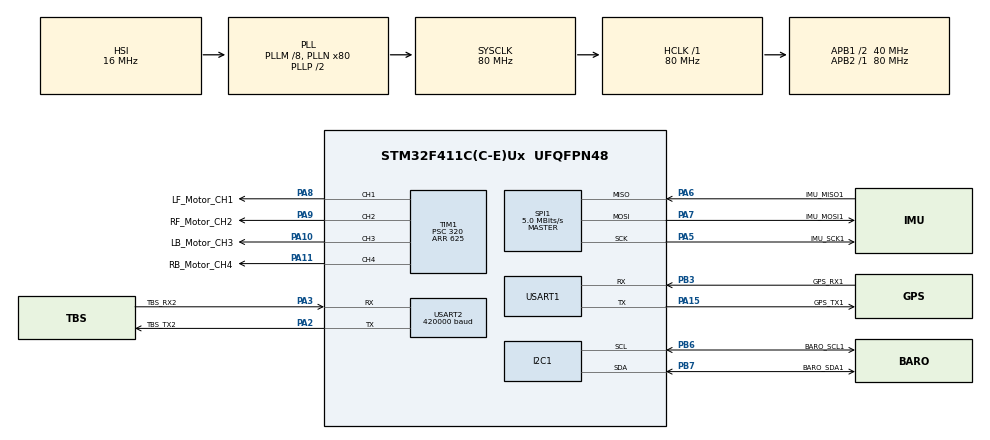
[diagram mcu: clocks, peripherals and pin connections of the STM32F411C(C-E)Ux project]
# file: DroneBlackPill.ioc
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FREERTOS.BinarySemaphores01=IMUSem,Dynamic,NULL
FREERTOS.Tasks01=defaultTask,24,128,StartDefaultTask,Default,NULL,Dynamic,NULL,NULL;IMUTask,8,128,StartIMUTask,Default,NULL,Dynamic,NULL,NULL
FREERTOS.configUSE_NEWLIB_REENTRANT=1
I2C1.I2C_Mode=I2C_Fast
Mcu.Family=STM32F4
Mcu.Name=STM32F411C(C-E)Ux
Mcu.Package=UFQFPN48
NVIC.PriorityGroup=NVIC_PRIORITYGROUP_4
NVIC.TIM1_TRG_COM_TIM11_IRQn=true\:5\:0\:false\:false\:true\:false\:false\:true
NVIC.TimeBase=TIM1_TRG_COM_TIM11_IRQn
NVIC.TimeBaseIP=TIM11
PA10.GPIO_Label=LB_Motor_CH3
PA10.Signal=S_TIM1_CH3
PA11.GPIO_Label=RB_Motor_CH4
PA11.Signal=S_TIM1_CH4
PA13.Mode=Serial_Wire
PA13.Signal=SYS_JTMS-SWDIO
PA14.Mode=Serial_Wire
PA14.Signal=SYS_JTCK-SWCLK
PA15.GPIO_Label=GPS_TX1
PA15.Mode=Asynchronous
PA15.Signal=USART1_TX
PA2.GPIO_Label=TBS_TX2
PA2.Mode=Asynchronous
PA2.Signal=USART2_TX
PA3.GPIO_Label=TBS_RX2
PA3.Mode=Asynchronous
PA3.Signal=USART2_RX
PA5.GPIO_Label=IMU_SCK1
PA5.Mode=Full_Duplex_Master
PA5.Signal=SPI1_SCK
PA6.GPIO_Label=IMU_MISO1
PA6.Mode=Full_Duplex_Master
PA6.Signal=SPI1_MISO
PA7.GPIO_Label=IMU_MOSI1
PA7.Mode=Full_Duplex_Master
PA7.Signal=SPI1_MOSI
PA8.GPIO_Label=LF_Motor_CH1
PA8.Signal=S_TIM1_CH1
PA9.GPIO_Label=RF_Motor_CH2
PA9.Signal=S_TIM1_CH2
PB3.GPIO_Label=GPS_RX1
PB3.Mode=Asynchronous
PB3.Signal=USART1_RX
PB6.GPIO_Label=BARO_SCL1
PB6.Mode=I2C
PB6.Signal=I2C1_SCL
PB7.GPIO_Label=BARO_SDA1
PB7.Mode=I2C
PB7.Signal=I2C1_SDA
ProjectManager.HeapSize=0x200
ProjectManager.StackSize=0x400
ProjectManager.TargetToolchain=STM32CubeIDE
RCC.48MHZClocksFreq_Value=40000000
RCC.AHBFreq_Value=80000000
RCC.APB1CLKDivider=RCC_HCLK_DIV2
RCC.APB1Freq_Value=40000000
RCC.APB1TimFreq_Value=80000000
RCC.APB2Freq_Value=80000000
RCC.APB2TimFreq_Value=80000000
RCC.CortexFreq_Value=80000000
RCC.HCLKFreq_Value=80000000
RCC.HSE_VALUE=25000000
RCC.HSI_VALUE=16000000
RCC.LSE_VALUE=32768
RCC.PLLM=8
RCC.PLLN=80
RCC.SYSCLKFreq_VALUE=80000000
RCC.SYSCLKSource=RCC_SYSCLKSOURCE_PLLCLK
RCC.VCOOutputFreq_Value=160000000
SH.S_TIM1_CH1.0=TIM1_CH1,PWM Generation1 CH1
SH.S_TIM1_CH2.0=TIM1_CH2,PWM Generation2 CH2
SH.S_TIM1_CH3.0=TIM1_CH3,PWM Generation3 CH3
SH.S_TIM1_CH4.0=TIM1_CH4,PWM Generation4 CH4
SPI1.BaudRatePrescaler=SPI_BAUDRATEPRESCALER_16
SPI1.CalculateBaudRate=5.0 MBits/s
SPI1.Direction=SPI_DIRECTION_2LINES
SPI1.Mode=SPI_MODE_MASTER
SPI1.VirtualType=VM_MASTER
TIM1.AutoReloadPreload=TIM_AUTORELOAD_PRELOAD_ENABLE
TIM1.Channel-PWM\ Generation1\ CH1=TIM_CHANNEL_1
TIM1.Channel-PWM\ Generation2\ CH2=TIM_CHANNEL_2
TIM1.Channel-PWM\ Generation3\ CH3=TIM_CHANNEL_3
TIM1.Channel-PWM\ Generation4\ CH4=TIM_CHANNEL_4
TIM1.Period=625
TIM1.Prescaler=320
TIM1.Pulse-PWM\ Generation1\ CH1=250
TIM1.Pulse-PWM\ Generation2\ CH2=250
TIM1.Pulse-PWM\ Generation3\ CH3=250
TIM1.Pulse-PWM\ Generation4\ CH4=250
USART1.VirtualMode=VM_ASYNC
USART2.BaudRate=420000
USART2.VirtualMode=VM_ASYNC
VP_FREERTOS_VS_CMSIS_V2.Mode=CMSIS_V2
VP_SYS_VS_tim11.Mode=TIM11
board=custom

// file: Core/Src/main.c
/* USER CODE BEGIN Header */
/**
  ******************************************************************************
  * @file           : main.c
  * @brief          : Main program body
  ******************************************************************************
  * @attention
  *
  * Copyright (c) 2022 STMicroelectronics.
  * All rights reserved.
  *
  * This software is licensed under terms that can be found in the LICENSE file
  * in the root directory of this software component.
  * If no LICENSE file comes with this software, it is provided AS-IS.
  *
  ******************************************************************************
  */
/* USER CODE END Header */
#include "main.h"
#include "cmsis_os.h"
#include "i2c.h"
#include "spi.h"
#include "tim.h"
#include "usart.h"
#include "gpio.h"

void SystemClock_Config(void);
void MX_FREERTOS_Init(void);

int main(void)
{

  /* MCU Configuration--------------------------------------------------------*/

  /* Reset of all peripherals, Initializes the Flash interface and the Systick. */
  HAL_Init();

  /* Configure the system clock */
  SystemClock_Config();

  /* Initialize all configured peripherals */
  MX_GPIO_Init();
  MX_TIM1_Init();
  MX_USART1_UART_Init();
  MX_USART2_UART_Init();
  MX_I2C1_Init();
  MX_SPI1_Init();

  /* Init scheduler */
  osKernelInitialize();  /* Call init function for freertos objects (in freertos.c) */
  MX_FREERTOS_Init();
  /* Start scheduler */
  osKernelStart();

  /* We should never get here as control is now taken by the scheduler */
  /* Infinite loop */
  while (1)
  {

  }
}

void SystemClock_Config(void)
{
  RCC_OscInitTypeDef RCC_OscInitStruct = {0};
  RCC_ClkInitTypeDef RCC_ClkInitStruct = {0};

  /** Configure the main internal regulator output voltage
  */
  __HAL_RCC_PWR_CLK_ENABLE();
  __HAL_PWR_VOLTAGESCALING_CONFIG(PWR_REGULATOR_VOLTAGE_SCALE1);
  /** Initializes the RCC Oscillators according to the specified parameters
  * in the RCC_OscInitTypeDef structure.
  */
  RCC_OscInitStruct.OscillatorType = RCC_OSCILLATORTYPE_HSI;
  RCC_OscInitStruct.HSIState = RCC_HSI_ON;
  RCC_OscInitStruct.HSICalibrationValue = RCC_HSICALIBRATION_DEFAULT;
  RCC_OscInitStruct.PLL.PLLState = RCC_PLL_ON;
  RCC_OscInitStruct.PLL.PLLSource = RCC_PLLSOURCE_HSI;
  RCC_OscInitStruct.PLL.PLLM = 8;
  RCC_OscInitStruct.PLL.PLLN = 80;
  RCC_OscInitStruct.PLL.PLLP = RCC_PLLP_DIV2;
  RCC_OscInitStruct.PLL.PLLQ = 4;
  if (HAL_RCC_OscConfig(&RCC_OscInitStruct) != HAL_OK)
  {
    Error_Handler();
  }
  /** Initializes the CPU, AHB and APB buses clocks
  */
  RCC_ClkInitStruct.ClockType = RCC_CLOCKTYPE_HCLK|RCC_CLOCKTYPE_SYSCLK
                              |RCC_CLOCKTYPE_PCLK1|RCC_CLOCKTYPE_PCLK2;
  RCC_ClkInitStruct.SYSCLKSource = RCC_SYSCLKSOURCE_PLLCLK;
  RCC_ClkInitStruct.AHBCLKDivider = RCC_SYSCLK_DIV1;
  RCC_ClkInitStruct.APB1CLKDivider = RCC_HCLK_DIV2;
  RCC_ClkInitStruct.APB2CLKDivider = RCC_HCLK_DIV1;

  if (HAL_RCC_ClockConfig(&RCC_ClkInitStruct, FLASH_LATENCY_2) != HAL_OK)
  {
    Error_Handler();
  }
}

void HAL_TIM_PeriodElapsedCallback(TIM_HandleTypeDef *htim)
{
  if (htim->Instance == TIM11) {
    HAL_IncTick();
  }
}

void Error_Handler(void)
{
  __disable_irq();
  while (1)
  {
  }
}

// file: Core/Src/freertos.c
/* USER CODE BEGIN Header */
/**
  ******************************************************************************
  * File Name          : freertos.c
  * Description        : Code for freertos applications
  ******************************************************************************
  * @attention
  *
  * Copyright (c) 2022 STMicroelectronics.
  * All rights reserved.
  *
  * This software is licensed under terms that can be found in the LICENSE file
  * in the root directory of this software component.
  * If no LICENSE file comes with this software, it is provided AS-IS.
  *
  ******************************************************************************
  */
/* USER CODE END Header */

#include "FreeRTOS.h"
#include "task.h"
#include "main.h"
#include "cmsis_os.h"

/* USER CODE BEGIN Includes */
#include "IMUAgent.h"
#include "AHRS.h"

#include "bme68x.h"

#include "bmm150.h"

#include "bmi088.h"
#include "bmi088a.h"
#include "bmi088g.h"
#include "bmi08x.h"
/* USER CODE END Includes */

/* USER CODE BEGIN Variables */
osStatus_t imuSemStatus;
/* USER CODE END Variables */
/* Definitions for defaultTask */
osThreadId_t defaultTaskHandle;
const osThreadAttr_t defaultTask_attributes = {
  .name = "defaultTask",
  .stack_size = 128 * 4,
  .priority = (osPriority_t) osPriorityNormal,
};
/* Definitions for IMUTask */
osThreadId_t IMUTaskHandle;
const osThreadAttr_t IMUTask_attributes = {
  .name = "IMUTask",
  .stack_size = 128 * 4,
  .priority = (osPriority_t) osPriorityLow,
};
/* Definitions for IMUSem */
osSemaphoreId_t IMUSemHandle;
const osSemaphoreAttr_t IMUSem_attributes = {
  .name = "IMUSem"
};

void StartDefaultTask(void *argument);
void StartIMUTask(void *argument);

void MX_FREERTOS_Init(void); /* (MISRA C 2004 rule 8.1) */

void MX_FREERTOS_Init(void) {

  /* Create the semaphores(s) */
  /* creation of IMUSem */
  IMUSemHandle = osSemaphoreNew(1, 1, &IMUSem_attributes);

  /* Create the thread(s) */
  /* creation of defaultTask */
  defaultTaskHandle = osThreadNew(StartDefaultTask, NULL, &defaultTask_attributes);

  /* creation of IMUTask */
  IMUTaskHandle = osThreadNew(StartIMUTask, NULL, &IMUTask_attributes);

}

void StartDefaultTask(void *argument)
{
  for(;;)
  {
    osDelay(1);
  }
}

void StartIMUTask(void *argument)
{
	/* USER CODE BEGIN StartIMUTask */
	uint8_t status = 0;

	initBME680();
	initBMM150();
	initBMI088();
	/* Infinite loop */
	for(;;)
	{
		imuSemStatus = osSemaphoreAcquire(IMUSemHandle, 10);
		if (imuSemStatus == osOK)
		{
			bme68x_get_data(BME68X_PARALLEL_MODE, data, &n_fields, &bme);
			rawARHSData.pressure = (data[0].pressure + data[1].pressure + data[2].pressure) / 3.0;
			rawARHSData.temperature = (data[0].temperature + data[1].temperature + data[2].temperature) / 3.0;

			get_data(&bmm);

			enable_bmi08x_interrupt();
			bmi08a_get_data_int_status(&status, &bmi);
			if (status & BMI08X_ACCEL_DATA_READY_INT)
			{
				rslt = bmi08a_get_data(&bmi08x_accel, &bmi);

				/* Converting lsb to meter per second squared for 16 bit accelerometer at 24G range. */
				rawARHSData.AccData[0] = lsb_to_mps2(bmi08x_accel.x, 24, 16);
				rawARHSData.AccData[1] = lsb_to_mps2(bmi08x_accel.y, 24, 16);
				rawARHSData.AccData[2] = lsb_to_mps2(bmi08x_accel.z, 24, 16);
			}
			bmi08g_get_data_int_status(&status, &bmi);
			if (status & BMI08X_GYRO_DATA_READY_INT)
			{
				bmi08g_get_data(&bmi08x_gyro, &bmi);

				/* Converting lsb to degree per second for 16 bit gyro at 250 dps range. */
				rawARHSData.GyroData[0] = lsb_to_dps(bmi08x_gyro.x, 250, 16);
				rawARHSData.GyroData[1] = lsb_to_dps(bmi08x_gyro.y, 250, 16);
				rawARHSData.GyroData[2] = lsb_to_dps(bmi08x_gyro.z, 250, 16);
			}
			disable_bmi08x_interrupt();

			rawARHSData.lastSampleTime = HAL_GetTick();
			rawARHSData.newMeasurementExists = true;
			osSemaphoreRelease(IMUSemHandle);
		}
		osDelay(1);
	}
	/* USER CODE END StartIMUTask */
}
